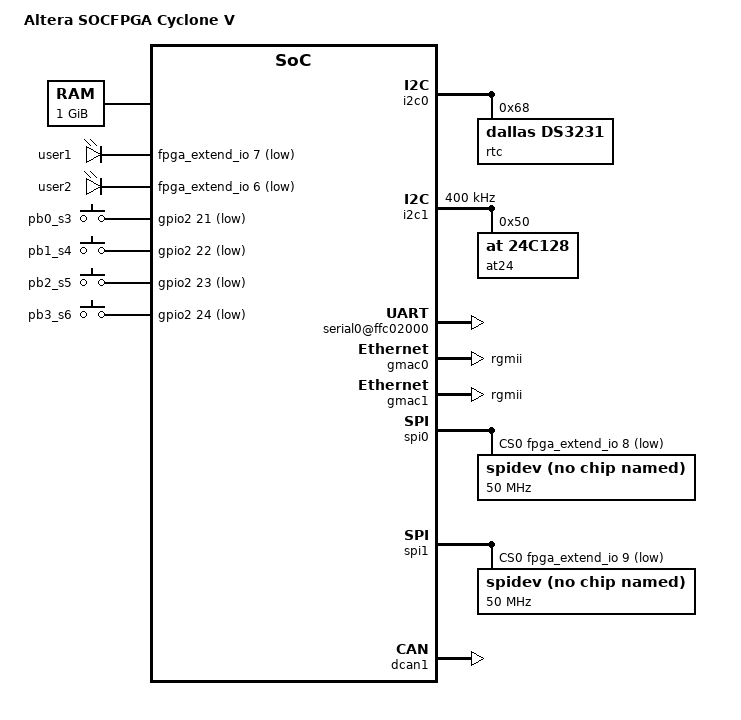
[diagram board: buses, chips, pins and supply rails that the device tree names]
/*
 * Copyright Altera Corporation (C) 2012,2014. All rights reserved.
 *
 * This program is free software; you can redistribute it and/or modify
 * it under the terms and conditions of the GNU General Public License,
 * version 2, as published by the Free Software Foundation.
 *
 * This program is distributed in the hope it will be useful, but WITHOUT
 * ANY WARRANTY; without even the implied warranty of MERCHANTABILITY or
 * FITNESS FOR A PARTICULAR PURPOSE.  See the GNU General Public License for
 * more details.
 *
 * You should have received a copy of the GNU General Public License along with
 * this program.  If not, see <http://www.gnu.org/licenses/>.
 */

/dts-v1/;
/include/ "socfpga.dtsi"

/ {
	model = "Altera SOCFPGA Cyclone V";
	compatible = "altr,socfpga-cyclone5", "altr,socfpga";

	chosen {
		bootargs = "console=ttyS0,115200 root=/dev/mmcblk0p2 rw rootwait";
	};

	memory {
		name = "memory";
		device_type = "memory";
		reg = <0x0 0x40000000>; /* 1 GB */
	};

	aliases {
		/* this allow the ethaddr uboot environmnet variable contents
		 * to be added to the gmac0 device tree blob.
		 */
		ethernet0 = &gmac0;
	};

	soc {
		clkmgr@ffd04000 {
			clocks {
				osc1 {
					clock-frequency = <25000000>;
				};
			};
		};

		dwmmc0@ff704000 {
			num-slots = <1>;
			supports-highspeed;
			broken-cd;
			altr,dw-mshc-ciu-div = <3>;
			altr,dw-mshc-sdr-timing = <0 3>;

			slot@0 {
				cd-gpios = <&gpio1 8 0>;
				reg = <0>;
				bus-width = <4>;
			};
		};

		gpio@ff708000 {
			status = "okay";
		};

		gpio@ff709000 {
			status = "okay";
		};

		gpio@ff70a000 {
			status = "okay";
		};

		i2c0: i2c@ffc04000 {
			speed-mode = <0>;
			status = "okay";
		};

		i2c1: i2c@ffc05000 {
			clock-frequency = <400000>;
			speed-mode = <0>;
			status = "okay";

			at24@50 {
				compatible = "at,24c128";
				pagesize = <64>;
				reg = <0x50>;
			};
		};

		serial0@ffc02000 {
			status = "okay";
		};

		sysmgr@ffd08000 {
			cpu1-start-addr = <0xffd080c4>;
		};

		watchdog0: wd@ffd02000 {
			status = "okay";
		};

	};
};

&i2c0 {
	/*
	 * adjust the falling times to decrease the i2c frequency to 50Khz
	 * because the LCD module does not work at the standard 100Khz
	 */
	i2c-sda-falling-time-ns = <5000>;
	i2c-scl-falling-time-ns = <5000>;

	rtc@68 {
		compatible = "dallas,ds3231";
		reg = <0x68>;
	};
};

&gmac0 {
	phy-mode = "rgmii";
	phy-bus = <0x0>;
	/* phy-addr = <0xffffffff> mean auto probed */
	phy-addr = <0x6>;
	status = "okay";
};

&gmac1 {
	phy-mode = "rgmii";
	phy-bus = <0x1>;
	phy-addr = <0x4>;
	status = "okay";
};

&spi0 {
	status = "okay";
	cs-gpios = <&fpga_extend_io 8 1>;

	spidev@0 {
		compatible = "spidev";
		reg = <0>;      /* chip select */
		spi-max-frequency = <50000000>;
		enable-dma = <1>;
	};
};

&spi1 {
	status = "okay";
	cs-gpios = <&fpga_extend_io 9 1>;

	spidev@0 {
		compatible = "spidev";
		reg = <0>;      /* chip select */
		spi-max-frequency = <50000000>;
		enable-dma = <1>;
	};
};

&dcan1 {
	status = "okay";
};

/{
	soc {
		leds {
			compatible = "gpio-leds";

			user_hps_led9_c {
				label = "user1";
				gpios = <&fpga_extend_io 7 1>;
			};

			user_hps_led8_c {
				label = "user2";
				gpios = <&fpga_extend_io 6 1>;
			};
		};

		gpio_keys {
			compatible = "gpio-keys-polled";
			#address-cells = <1>;
			#size-cells = <0>;
			poll-interval = <50>;
			/* autorepeat; */

			button@0 {
				debounce_interval = <50>;
				wakeup = <1>;
				linux,code = <0x100>;
				label = "pb0_s3";
				gpios = <&gpio2 21 1>;
			};
			button@1 {
				debounce_interval = <50>;
				wakeup = <1>;
				linux,code = <0x101>;
				label = "pb1_s4";
				gpios = <&gpio2 22 1>;
			};
			button@2 {
				debounce_interval = <50>;
				wakeup = <1>;
				linux,code = <0x102>;
				label = "pb2_s5";
				gpios = <&gpio2 23 1>;
			};
			button@3 {
				debounce_interval = <50>;
				wakeup = <1>;
				linux,code = <0x103>;
				label = "pb3_s6";
				gpios = <&gpio2 24 1>;
			};
	
		};

		mmc: dwmmc0@ff704000 {
			pwr-en = <0>;
		};

		hps_0_bridges: bridge@0xc0000000 {
			compatible = "altr,bridge-14.1", "simple-bus";
			reg = < 0xC0000000 0x20000000 
				0xFF200000 0x00200000 >;
			reg-names = "axi_h2f", "axi_h2f_lw";
			#address-cells = < 2 >;
			#size-cells = < 1 >;
			ranges = <
				0x00000001 0x00000040 0xFF200040 0x00000020 
				0x00000001 0x000000E0 0xFF2000E0 0x00000010 
				0x00000001 0x00000138 0xFF200138 0x00000008 
				0x00000001 0x00000200 0xFF200200 0x00000020 
				0x00000001 0x00000220 0xFF200220 0x00000020 
				0x00000001 0x00000020 0xFF200020 0x00000020 
				0x00000001 0x000000D0 0xFF2000D0 0x00000010 
				0x00000001 0x00000130 0xFF200130 0x00000008 
				0x00000001 0x000000A0 0xFF2000A0 0x00000010 
				0x00000001 0x00000170 0xFF200170 0x00000010 >; 

			teds_io: gpio@0x1000000A0 {
				compatible = "ALTR,pio-14.1", "ALTR,pio-1.0", "altr,pio-1.0";
				reg = < 0x00000001 0x000000A0 0x00000010 >;
				width = < 16 >;	/* width type NUMBER */
				resetvalue = < 0 >;	/* embeddedsw.dts.params.resetvalue type NUMBER */
				altr,gpio-bank-width = < 16 >;	/* embeddedsw.dts.params.altr,gpio-bank-width type NUMBER */
				#gpio-cells = < 2 >;
				gpio-controller;
			}; //end gpio@0x1000000A0 (teds_io)

			fpga_extend_io: gpio@0x100000170 {
				compatible = "ALTR,pio-14.1", "ALTR,pio-1.0", "altr,pio-1.0";
				reg = < 0x00000001 0x00000170 0x00000010 >;
				interrupt-parent = < &intc >;
				interrupts = < 0 49 1 >;
				width = < 10 >;	/* width type NUMBER */
				resetvalue = < 0 >;	/* embeddedsw.dts.params.resetvalue type NUMBER */
				altr,gpio-bank-width = < 10 >;	/* embeddedsw.dts.params.altr,gpio-bank-width type NUMBER */
				altr,interrupt_type = < 3 >;	/* embeddedsw.dts.params.altr,interrupt_type type NUMBER */
				edge_type = < 2 >;	/* embeddedsw.dts.params.edge_type type NUMBER */
				level_trigger = < 0 >;	/* embeddedsw.dts.params.level_trigger type NUMBER */
				#gpio-cells = < 2 >;
				gpio-controller;
			}; //end gpio@0x100000170 (fpga_extend_io)

			msgdma_fpgaddr2hps: msgdma@0x100000040 {
				compatible = "msgdma-mm";
				reg = < 0x00000001 0x00000040 0x00000020 
					0x00000001 0x000000E0 0x00000010 
					0x00000001 0x00000138 0x00000008 
					>;
				reg-names = "csr", "descriptor_slave", "response";
				interrupt-parent = < &intc >;
				interrupts = < 0 45 4 >;
				for-read = < 1 >;
			}; //end msgdma@0x100000040 (msgdma_fpgaddr2hps)

			msgdma_adc2fpgaddr: msgdma@0x100000020 {
				compatible = "msgdma-adc";
				reg = < 0x00000001 0x00000020 0x00000020 
					0x00000001 0x000000D0 0x00000010 
					0x00000001 0x00000130 0x00000008
					0x00000001 0x00000200 0x00000020 
					0x00000001 0x00000220 0x00000020
					>; 
				reg-names = "csr", "descriptor_slave", "response", "adc0", "adc1";
				interrupt-parent = < &intc >;
				interrupts = < 0 46 4
						0 47 4 
						0 48 4
						>;
				fifo_words   = < 0x2000 0x2000 >;
				fifomm_bases = < 0x00000000 0x40000000 >;
				fifomm_sizes = < 0x40000000 0x40000000 >;
				ddrdat_bases = < 0x0000000 0x8000000 >;
				ddrdat_sizes = < 0x8000000 0x8000000 >;
			}; //end msgdma@0x100000020 (msgdma_adc2fpgaddr)

		}; //end bridge@0xc0000000 (hps_0_bridges)
	};
};

